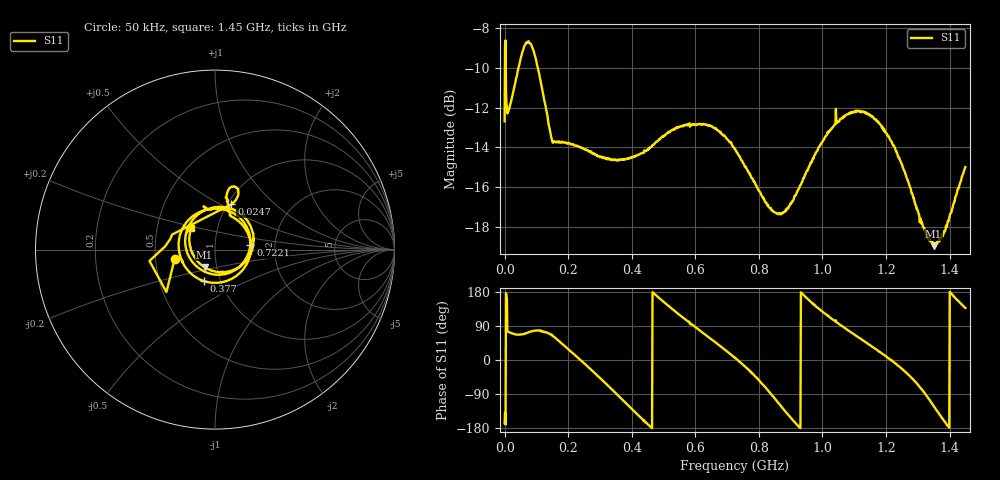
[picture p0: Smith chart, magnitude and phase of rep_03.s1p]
! Created with skrf 1.11.0 (http://scikit-rf.org).
# Hz S RI R 50.0
!freq ReS11 ImS11
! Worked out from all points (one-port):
!   1001 points, 50 kHz to 1.45 GHz, reference 50 ohm
!   lowest |S11| = -19.0 dB at 1.35 GHz (marker M1), VSWR 1.25, Z = 43.7 - j8.54 ohm
!   |S11| at or under -10 dB: start of sweep to 1.078 MHz; 3.752 MHz to 43.55 MHz (39.8 MHz wide, 168 % of centre); 104.6 MHz to end of sweep
!   S11 on the Smith chart (normalised r, x): 50 kHz: 0.63, -0.07; 24.7 MHz: 1.04, +0.57; 377 MHz: 0.83, -0.30; 722.1 MHz: 1.49, +0.08; 1.45 GHz: 0.75, +0.19
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50000  -0.2254 -0.0545
1.599945e7  0.0751 0.2407
2.469915e7  0.0919 0.2529
5.369815e7  0.1311 0.3161
7.83473e7  0.1015 0.3512
1.479449e8  0.0843 0.192
1.812938e8  0.1515 0.1384
2.62491e8  0.1862 -0.0603
3.146892e8  0.0964 -0.1611
3.625375e8  -0.0255 -0.1838
3.77037e8  -0.064 -0.175
4.64034e8  -0.2008 -0.000628
5.437812e8  -0.1247 0.1864
6.264284e8  0.0778 0.2147
6.742768e8  0.1695 0.1391
7.221251e8  0.1971 0.0263
7.25025e8  0.1962 0.0227
8.178218e8  0.0509 -0.1377
8.656702e8  -0.0628 -0.1209
9.062688e8  -0.1349 -0.0551
9.831161e8  -0.1477 0.1273
1.035314e9  -0.0595 0.2174
1.087512e9  0.0644 0.2354
1.181759e9  0.2132 0.0802
1.268756e9  0.1304 -0.0997
1.349953e9  -0.058 -0.0963
1.400702e9  -0.1343 0.00116
1.45e9  -0.1311 0.1202
